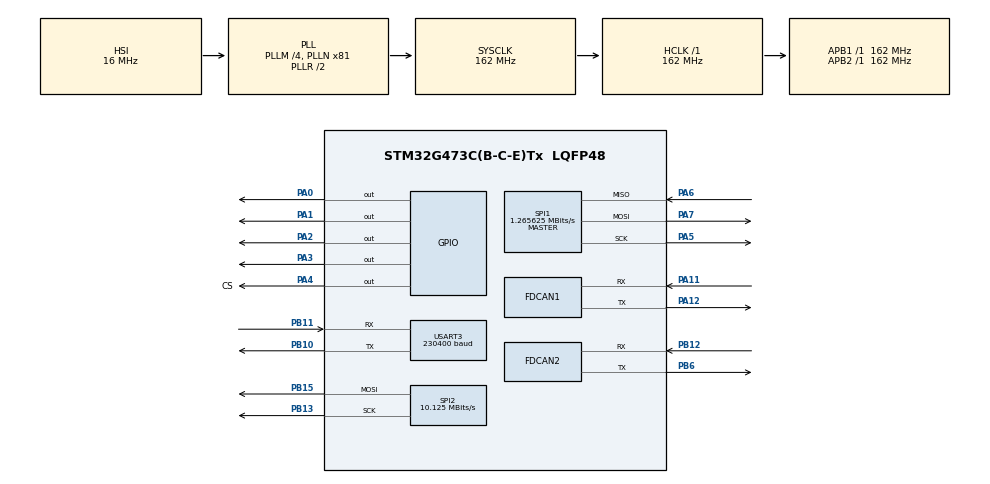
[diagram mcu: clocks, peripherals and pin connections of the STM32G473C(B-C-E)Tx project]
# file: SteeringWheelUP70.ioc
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Dma.Request0=SPI2_TX
Dma.Request1=USART3_TX
Dma.SPI2_TX.0.Direction=DMA_MEMORY_TO_PERIPH
Dma.SPI2_TX.0.EventEnable=DISABLE
Dma.SPI2_TX.0.Instance=DMA1_Channel1
Dma.SPI2_TX.0.MemDataAlignment=DMA_MDATAALIGN_BYTE
Dma.SPI2_TX.0.MemInc=DMA_MINC_ENABLE
Dma.SPI2_TX.0.Mode=DMA_NORMAL
Dma.SPI2_TX.0.PeriphDataAlignment=DMA_PDATAALIGN_BYTE
Dma.SPI2_TX.0.PeriphInc=DMA_PINC_DISABLE
Dma.SPI2_TX.0.Polarity=HAL_DMAMUX_REQ_GEN_RISING
Dma.SPI2_TX.0.Priority=DMA_PRIORITY_LOW
Dma.SPI2_TX.0.RequestNumber=1
Dma.SPI2_TX.0.SignalID=NONE
Dma.SPI2_TX.0.SyncEnable=DISABLE
Dma.SPI2_TX.0.SyncPolarity=HAL_DMAMUX_SYNC_NO_EVENT
Dma.SPI2_TX.0.SyncRequestNumber=1
Dma.SPI2_TX.0.SyncSignalID=NONE
Dma.USART3_TX.1.Direction=DMA_MEMORY_TO_PERIPH
Dma.USART3_TX.1.EventEnable=DISABLE
Dma.USART3_TX.1.Instance=DMA1_Channel2
Dma.USART3_TX.1.MemDataAlignment=DMA_MDATAALIGN_BYTE
Dma.USART3_TX.1.MemInc=DMA_MINC_ENABLE
Dma.USART3_TX.1.Mode=DMA_NORMAL
Dma.USART3_TX.1.PeriphDataAlignment=DMA_PDATAALIGN_BYTE
Dma.USART3_TX.1.PeriphInc=DMA_PINC_DISABLE
Dma.USART3_TX.1.Polarity=HAL_DMAMUX_REQ_GEN_RISING
Dma.USART3_TX.1.Priority=DMA_PRIORITY_LOW
Dma.USART3_TX.1.RequestNumber=1
Dma.USART3_TX.1.SignalID=NONE
Dma.USART3_TX.1.SyncEnable=DISABLE
Dma.USART3_TX.1.SyncPolarity=HAL_DMAMUX_SYNC_NO_EVENT
Dma.USART3_TX.1.SyncRequestNumber=1
Dma.USART3_TX.1.SyncSignalID=NONE
FDCAN1.CalculateBaudRateNominal=1000000
FDCAN1.CalculateTimeBitNominal=1000
FDCAN1.CalculateTimeQuantumNominal=111.11111111111111
FDCAN1.NominalPrescaler=18
FDCAN1.NominalTimeSeg1=5
FDCAN1.NominalTimeSeg2=3
FDCAN2.AutoRetransmission=DISABLE
FDCAN2.CalculateBaudRateNominal=1000000
FDCAN2.CalculateTimeBitNominal=1000
FDCAN2.CalculateTimeQuantumNominal=111.11111111111111
FDCAN2.DataTimeSeg1=0xF
FDCAN2.DataTimeSeg2=0x4
FDCAN2.ExtFiltersNbr=4
FDCAN2.NominalPrescaler=18
FDCAN2.NominalTimeSeg1=2
FDCAN2.NominalTimeSeg2=6
FDCAN2.StdFiltersNbr=0
Mcu.Family=STM32G4
Mcu.Name=STM32G473C(B-C-E)Tx
Mcu.Package=LQFP48
NVIC.DMA1_Channel1_IRQn=true\:0\:0\:false\:false\:true\:false\:true\:true
NVIC.DMA1_Channel2_IRQn=true\:0\:0\:false\:false\:true\:false\:true\:true
NVIC.FDCAN1_IT0_IRQn=true\:0\:0\:false\:false\:true\:true\:true\:true
NVIC.FDCAN1_IT1_IRQn=true\:0\:0\:false\:false\:true\:true\:true\:true
NVIC.FDCAN2_IT0_IRQn=true\:0\:0\:false\:false\:true\:true\:true\:true
NVIC.FDCAN2_IT1_IRQn=true\:0\:0\:false\:false\:true\:true\:true\:true
NVIC.PriorityGroup=NVIC_PRIORITYGROUP_4
NVIC.SPI1_IRQn=true\:0\:0\:false\:false\:true\:true\:true\:true
NVIC.SPI2_IRQn=true\:0\:0\:false\:false\:true\:true\:true\:true
NVIC.TIM1_TRG_COM_TIM17_IRQn=true\:0\:0\:false\:false\:true\:true\:true\:true
NVIC.TIM6_DAC_IRQn=true\:0\:0\:false\:false\:true\:true\:true\:true
NVIC.TIM7_DAC_IRQn=true\:0\:0\:false\:false\:true\:true\:true\:true
NVIC.USART3_IRQn=true\:0\:0\:false\:false\:true\:true\:true\:true
PA0.GPIO_PuPd=GPIO_PULLUP
PA0.Signal=GPIO_Output
PA1.GPIO_PuPd=GPIO_PULLUP
PA1.Signal=GPIO_Output
PA11.Mode=FDCAN_Activate
PA11.Signal=FDCAN1_RX
PA12.Mode=FDCAN_Activate
PA12.Signal=FDCAN1_TX
PA13.Mode=Serial_Wire
PA13.Signal=SYS_JTMS-SWDIO
PA14.Mode=Serial_Wire
PA14.Signal=SYS_JTCK-SWCLK
PA2.GPIO_PuPd=GPIO_PULLUP
PA2.Signal=GPIO_Output
PA3.GPIO_PuPd=GPIO_PULLUP
PA3.Signal=GPIO_Output
PA4.GPIO_Label=CS
PA4.Signal=GPIO_Output
PA5.Mode=Full_Duplex_Master
PA5.Signal=SPI1_SCK
PA6.Mode=Full_Duplex_Master
PA6.Signal=SPI1_MISO
PA7.Mode=Full_Duplex_Master
PA7.Signal=SPI1_MOSI
PB10.Mode=Asynchronous
PB10.Signal=USART3_TX
PB11.Mode=Asynchronous
PB11.Signal=USART3_RX
PB12.Mode=FDCAN_Activate
PB12.Signal=FDCAN2_RX
PB13.Mode=TX_Only_Simplex_Unidirect_Master
PB13.Signal=SPI2_SCK
PB15.Mode=TX_Only_Simplex_Unidirect_Master
PB15.Signal=SPI2_MOSI
PB6.Mode=FDCAN_Activate
PB6.Signal=FDCAN2_TX
PF0-OSC_IN.Mode=HSE-External-Oscillator
PF0-OSC_IN.Signal=RCC_OSC_IN
PF1-OSC_OUT.Mode=HSE-External-Oscillator
PF1-OSC_OUT.Signal=RCC_OSC_OUT
ProjectManager.HeapSize=0x400
ProjectManager.StackSize=0x800
ProjectManager.TargetToolchain=MDK-ARM V5.32
RCC.ADC12Freq_Value=162000000
RCC.ADC345Freq_Value=162000000
RCC.AHBFreq_Value=162000000
RCC.APB1Freq_Value=162000000
RCC.APB1TimFreq_Value=162000000
RCC.APB2Freq_Value=162000000
RCC.APB2TimFreq_Value=162000000
RCC.CortexFreq_Value=162000000
RCC.EXTERNAL_CLOCK_VALUE=12288000
RCC.HCLKFreq_Value=162000000
RCC.HSE_VALUE=25000000
RCC.HSI48_VALUE=48000000
RCC.HSI_VALUE=16000000
RCC.LSE_VALUE=32768
RCC.PLLM=RCC_PLLM_DIV4
RCC.PLLN=81
RCC.SYSCLKFreq_VALUE=162000000
RCC.SYSCLKSource=RCC_SYSCLKSOURCE_PLLCLK
RCC.USBFreq_Value=162000000
RCC.VCOOutputFreq_Value=324000000
SPI1.BaudRatePrescaler=SPI_BAUDRATEPRESCALER_128
SPI1.CLKPhase=SPI_PHASE_2EDGE
SPI1.CalculateBaudRate=1.265625 MBits/s
SPI1.DataSize=SPI_DATASIZE_16BIT
SPI1.Direction=SPI_DIRECTION_2LINES
SPI1.Mode=SPI_MODE_MASTER
SPI1.VirtualType=VM_MASTER
SPI2.BaudRatePrescaler=SPI_BAUDRATEPRESCALER_16
SPI2.CalculateBaudRate=10.125 MBits/s
SPI2.DataSize=SPI_DATASIZE_8BIT
SPI2.Direction=SPI_DIRECTION_2LINES
SPI2.Mode=SPI_MODE_MASTER
SPI2.VirtualType=VM_MASTER
TIM17.AutoReloadPreload=TIM_AUTORELOAD_PRELOAD_ENABLE
TIM17.PeriodNoDither=5000 - 1
TIM17.Prescaler=162 - 1
TIM6.AutoReloadPreload=TIM_AUTORELOAD_PRELOAD_ENABLE
TIM6.PeriodNoDither=4000 - 1
TIM6.Prescaler=162 - 1 
TIM7.Dithering=Disable
TIM7.PeriodNoDither=4000 - 1
TIM7.Prescaler=162 - 1
USART3.BaudRate=230400
USART3.VirtualMode-Asynchronous=VM_ASYNC
VP_SYS_VS_DBSignals.Mode=DisableDeadBatterySignals
VP_TIM17_VS_ClockSourceINT.Mode=Enable_Timer
VP_TIM6_VS_ClockSourceINT.Mode=Enable_Timer
VP_TIM7_VS_ClockSourceINT.Mode=Enable_Timer
board=custom

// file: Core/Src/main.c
/* USER CODE BEGIN Header */
/**
  ******************************************************************************
  * @file           : main.c
  * @brief          : Main program body
  ******************************************************************************
  * @attention
  *
  * Copyright (c) 2024 STMicroelectronics.
  * All rights reserved.
  *
  * This software is licensed under terms that can be found in the LICENSE file
  * in the root directory of this software component.
  * If no LICENSE file comes with this software, it is provided AS-IS.
  *
  ******************************************************************************
  */
/* USER CODE END Header */
#include "main.h"
#include "dma.h"
#include "fdcan.h"
#include "spi.h"
#include "tim.h"
#include "usart.h"
#include "gpio.h"

/* USER CODE BEGIN Includes */
#include "motor_vesc.h"
#include "string.h"
#include "pids.h"
#include "AS5047.h"
#include "WS2812_yx.h"
#include "motor_c620.h"
#include "algorithm.h"

// 1，2，3，4
// 还得改VESC的ID
/**
 *
 * 舵轮ID按如下方式：
 *    前方
 *
 * 1        4
 *
 *    车体
 *
 * 2        3
 *
 *
 */
// 舵轮的 ID 和 DEBUG 在.h文件中定义的

/* USER CODE END Includes */

/* USER CODE BEGIN PTD */

#ifdef STEER_DEBUG
// #define STEER_SPEED_DEBUG
// #define STEER_POSITION_DEBUG
#endif

// 舵轮的 舵向轮向优先级 优化方式
int StrWel_Priority = TARGBASE_STEERCALC;

// can总线接收的次数
int recv_times = 0;
// 从主控板接收信息的次数
int master_recv_times = 0;

// 设置的要求的目标舵轮角度
float set_angle_degree = 60.0;
// 角度环DEBUG用的变量
float angle_degree_debug = 30;

// VESC最大电流
float vesc_max_current = 0;
float m3508_max_current = 0;

#ifdef Steer_Wheel_1
uint16_t steer_zero_angle = 16081;
int led_band_bias = -2;
#endif
#ifdef Steer_Wheel_2
uint16_t steer_zero_angle = 5121;
int led_band_bias = -8;
#endif
#ifdef Steer_Wheel_3
uint16_t steer_zero_angle = 12450;
int led_band_bias = -8;
#endif

int targ_speed;
int targ_current;
float minor_angle_ouput;

// MASTER_CAN 接收到 的数据
uint8_t MasterCanData[8];

// 安全员/链接员计数器
int safe_guard_timer;
int linker_timer;
int C620_linker_timer;
int VESC_linker_timer;

// 从主控板传来的目标速度
int recv_speed_rpm = 0;
// 从主控板传来的目标角度（0~16384）
int recv_angle_code = 0;
float recv_angle_deg = 0;
float last_recv_angle_deg = 0;    // 上一次的目标转动值

// 测试3508的ID用的
int read_3508_id;

// 3508 的pid
Pids m3508_posi_pid;

void GPIO_LED_Control();
/* USER CODE END PTD */

/* USER CODE BEGIN PD */

void WS2812_Refresh()
{
  HAL_SPI_Transmit_DMA(&hspi2, (uint8_t*)WS2812buf2send, 24 * (LED_Nums + 1));
}

FDCAN_RxHeaderTypeDef CAN2RxMessage;

void HAL_FDCAN_RxFifo0Callback(FDCAN_HandleTypeDef *hfdcan, uint32_t RxFifo0ITs)
{
  recv_times++;
  /******     hcan2 来自主机的消息    *********/

  if (hfdcan->Instance == hfdcan2.Instance)   // 如果符合目标CAN通道
  {
		FDCAN_RxHeaderTypeDef RxMessage;
		HAL_FDCAN_GetRxMessage(hfdcan, FDCAN_RX_FIFO0, &CAN2RxMessage, MasterCanData);
    master_recv_times++;

    #ifndef STEER_DEBUG
    if (CAN2RxMessage.Identifier == Steer_Control * My_Steer_ID)    // 确认自己的ID正确
    {
      // 告诉安全员自己收到了
      safe_guard_timer = SAFE_GUARD_TIME;
      // 计算收到的数据
      recv_speed_rpm = (int)(MasterCanData[0] << 24 | MasterCanData[1] << 16 | MasterCanData[2] << 8 | MasterCanData[3]);
      recv_angle_code = (int)(MasterCanData[4] << 24 | MasterCanData[5] << 16 | MasterCanData[6] << 8 | MasterCanData[7]);

      // 在刷新值之前，保留上一次的值用于优化
      last_recv_angle_deg = recv_angle_deg;

      // 舵轮自身坐标系和解算是反的，反一下就行
      recv_angle_deg = (360.0 - (recv_angle_code / 16384.0 * 360));

      /****   计算舵向最优的转向方式  ****/
      if (StrWel_Priority == REALBASE_STEERCALC)    // 基于现实的优化
      {
        algo_get_steerBetter_vec(test_rpm_value, angle_deg, &recv_speed_rpm, &recv_angle_deg);
      }
      else if (StrWel_Priority == TARGBASE_STEERCALC)    // 基于目标的优化
      {
        algo_get_steerBetter_vec(test_rpm_value, last_recv_angle_deg, &recv_speed_rpm, &recv_angle_deg);
      }
      else
      {
        // 不做优化，无事发生
      }
    }
    else if (CAN2RxMessage.Identifier == Steer_LinkConfirm * My_Steer_ID)    // 确认自己的ID正确
    {
      // 告诉链接员自己收到了
      linker_timer = SAFE_GUARD_TIME;
    }
    #endif
  }

  // 来自 3508 和 VESC 的消息
  else if (hfdcan->Instance == hfdcan1.Instance)
	{
		uint8_t Data[8];
		FDCAN_RxHeaderTypeDef RxMessage;
		HAL_FDCAN_GetRxMessage(hfdcan, FDCAN_RX_FIFO0, &RxMessage, Data);

		read_3508_id = RxMessage.Identifier;
    if((RxMessage.Identifier >> 8) == 0x02)   // 如果是收到的 C620 的消息
    {
      // 注意，因为这里只控制了一个3508，所以可以这样子写
      if (M3508.motor_id == 0)
      {
        M3508.motor_id = RxMessage.Identifier;
      }

			if(RxMessage.Identifier == M3508.motor_id)
      M3508.msg_cnt++ <= 50 ? get_moto_offset(&M3508, Data) : get_moto_measure(&M3508, Data);
      C620_linker_timer = 250;

      // 预热3508
      if (M3508.preheated == 0)
      {
        motor_c620_preheat();
      }

      // 正式执行
      else
      {
        #ifndef STEER_DEBUG
        if (safe_guard_timer > 0)
        {
          set_angle_degree = recv_angle_deg;
          minor_angle_ouput = get_minor_arc(angle_deg, set_angle_degree);
          targ_speed = m3508_posi_pid.calc_output(&m3508_posi_pid, minor_angle_ouput, 8000);
          motor_c620_set_rpm(targ_speed, targ_speed, targ_speed, targ_speed, 16000);
        }
        else
        {
          set_moto_current(M3508.my_fdcan, 0, 0);
        }
				#else
          // 速度环的DEBUG，请在main.c的上面激活
          #ifdef STEER_SPEED_DEBUG
				  motor_c620_set_rpm(targ_speed, targ_speed, targ_speed, targ_speed, 16000);
          #endif

          // 位置（角度）环的DEBUG，请在main.c的上面激活
          #ifdef STEER_POSITION_DEBUG
          minor_angle_ouput = get_minor_arc(angle_deg, angle_degree_debug);
          targ_speed = m3508_posi_pid.calc_output(&m3508_posi_pid, minor_angle_ouput, 8000);
          motor_c620_set_rpm(targ_speed, targ_speed, targ_speed, targ_speed, 16000);
          #endif

        #endif
      }
    }

    if ((RxMessage.Identifier & 0x900) == 0x900)
    {
      MotorVescRecvData vesc_recvs; // 新建接收用的结构体
      vesc_recvs.rx_header = RxMessage;
      VESC_linker_timer = 250;

      for (int i = 0; i < 8; i++)
      {
        vesc_recvs.recv_data[i] = Data[i];
      }
      motor_vesc_handle(vesc_recvs);
    }
	}

  HAL_FDCAN_ActivateNotification(hfdcan, FDCAN_IT_RX_FIFO0_NEW_MESSAGE, 0);
}
/* USER CODE END PD */

void SystemClock_Config(void);
/* USER CODE BEGIN PFP */

uint8_t msg_test[9] = "fuckfuck";
/* USER CODE END PFP */

int main(void)
{

  /* MCU Configuration--------------------------------------------------------*/

  /* Reset of all peripherals, Initializes the Flash interface and the Systick. */
  HAL_Init();

  /* Configure the system clock */
  SystemClock_Config();

  /* Initialize all configured peripherals */
  MX_GPIO_Init();
  MX_DMA_Init();
  MX_FDCAN2_Init();
  MX_FDCAN1_Init();
  MX_SPI1_Init();
  MX_SPI2_Init();
  MX_TIM6_Init();
  MX_TIM7_Init();
  MX_USART3_UART_Init();
  MX_TIM17_Init();
  /* USER CODE BEGIN 2 */
  // 轮1
	m3508_posi_pid = pids_create_init(1288, 256, 0.0, 0.001, 8000, 0.15, 0);

  // 请在其他部分初始化好了之后，再启动CAN总线
  HAL_TIM_Base_Start_IT(&htim6);
  HAL_TIM_Base_Start_IT(&htim7);
  HAL_TIM_Base_Start_IT(&htim17);

  motor_c620_init(&hfdcan1);
  HAL_Delay(100);

  bsp_can_init(&hfdcan2);
  HAL_Delay(100);
  motor_vesc_init(&hfdcan1);
  HAL_Delay(100);

  WS2812_InitBuffer();

  /* USER CODE END 2 */

  /* Infinite loop */
  while (1)
  {

    /* USER CODE BEGIN 3 */

    // WS2812_Wonder(0.5);
    GPIO_LED_Control();

    WS2812_Angles(40, 0, 112, 6, 0.5, angle_deg_raw, 1, led_band_bias);
    WS2812_Angles_Add(122, 103, 0, 6, 0.5, (180 - angle_deg_raw), 0, led_band_bias);
    WS2812_Refresh();

    HAL_Delay(10);
  }
  /* USER CODE END 3 */
}

void SystemClock_Config(void)
{
  RCC_OscInitTypeDef RCC_OscInitStruct = {0};
  RCC_ClkInitTypeDef RCC_ClkInitStruct = {0};

  /** Configure the main internal regulator output voltage
  */
  HAL_PWREx_ControlVoltageScaling(PWR_REGULATOR_VOLTAGE_SCALE1_BOOST);

  /** Initializes the RCC Oscillators according to the specified parameters
  * in the RCC_OscInitTypeDef structure.
  */
  RCC_OscInitStruct.OscillatorType = RCC_OSCILLATORTYPE_HSI;
  RCC_OscInitStruct.HSIState = RCC_HSI_ON;
  RCC_OscInitStruct.HSICalibrationValue = RCC_HSICALIBRATION_DEFAULT;
  RCC_OscInitStruct.PLL.PLLState = RCC_PLL_ON;
  RCC_OscInitStruct.PLL.PLLSource = RCC_PLLSOURCE_HSI;
  RCC_OscInitStruct.PLL.PLLM = RCC_PLLM_DIV4;
  RCC_OscInitStruct.PLL.PLLN = 81;
  RCC_OscInitStruct.PLL.PLLP = RCC_PLLP_DIV2;
  RCC_OscInitStruct.PLL.PLLQ = RCC_PLLQ_DIV2;
  RCC_OscInitStruct.PLL.PLLR = RCC_PLLR_DIV2;
  if (HAL_RCC_OscConfig(&RCC_OscInitStruct) != HAL_OK)
  {
    Error_Handler();
  }

  /** Initializes the CPU, AHB and APB buses clocks
  */
  RCC_ClkInitStruct.ClockType = RCC_CLOCKTYPE_HCLK|RCC_CLOCKTYPE_SYSCLK
                              |RCC_CLOCKTYPE_PCLK1|RCC_CLOCKTYPE_PCLK2;
  RCC_ClkInitStruct.SYSCLKSource = RCC_SYSCLKSOURCE_PLLCLK;
  RCC_ClkInitStruct.AHBCLKDivider = RCC_SYSCLK_DIV1;
  RCC_ClkInitStruct.APB1CLKDivider = RCC_HCLK_DIV1;
  RCC_ClkInitStruct.APB2CLKDivider = RCC_HCLK_DIV1;

  if (HAL_RCC_ClockConfig(&RCC_ClkInitStruct, FLASH_LATENCY_4) != HAL_OK)
  {
    Error_Handler();
  }
}

/* USER CODE BEGIN 4 */

void GPIO_LED_Control()
{
  // 检测是否连接到主机
  if (linker_timer > 0)
  {
    HAL_GPIO_WritePin(GPIOA, GPIO_PIN_0, GPIO_PIN_RESET);
  }
  else
  {
    HAL_GPIO_WritePin(GPIOA, GPIO_PIN_0, GPIO_PIN_SET);
  }

  // 检测是否正在运行
  if (safe_guard_timer > 0)
  {
    HAL_GPIO_WritePin(GPIOA, GPIO_PIN_1, GPIO_PIN_RESET);
  }
  else
  {
    HAL_GPIO_WritePin(GPIOA, GPIO_PIN_1, GPIO_PIN_SET);
  }

  // 检测是否连接到C620
  if (C620_linker_timer > 0)
  {
    HAL_GPIO_WritePin(GPIOA, GPIO_PIN_2, GPIO_PIN_RESET);
  }
  else
  {
    HAL_GPIO_WritePin(GPIOA, GPIO_PIN_2, GPIO_PIN_SET);
  }

  // 检测是否连接到VESC
  if (VESC_linker_timer > 0)
  {
    HAL_GPIO_WritePin(GPIOA, GPIO_PIN_3, GPIO_PIN_RESET);
  }
  else
  {
    HAL_GPIO_WritePin(GPIOA, GPIO_PIN_3, GPIO_PIN_SET);
  }
}

/* USER CODE END 4 */

void Error_Handler(void)
{
  __disable_irq();
  while (1)
  {
  }
}
